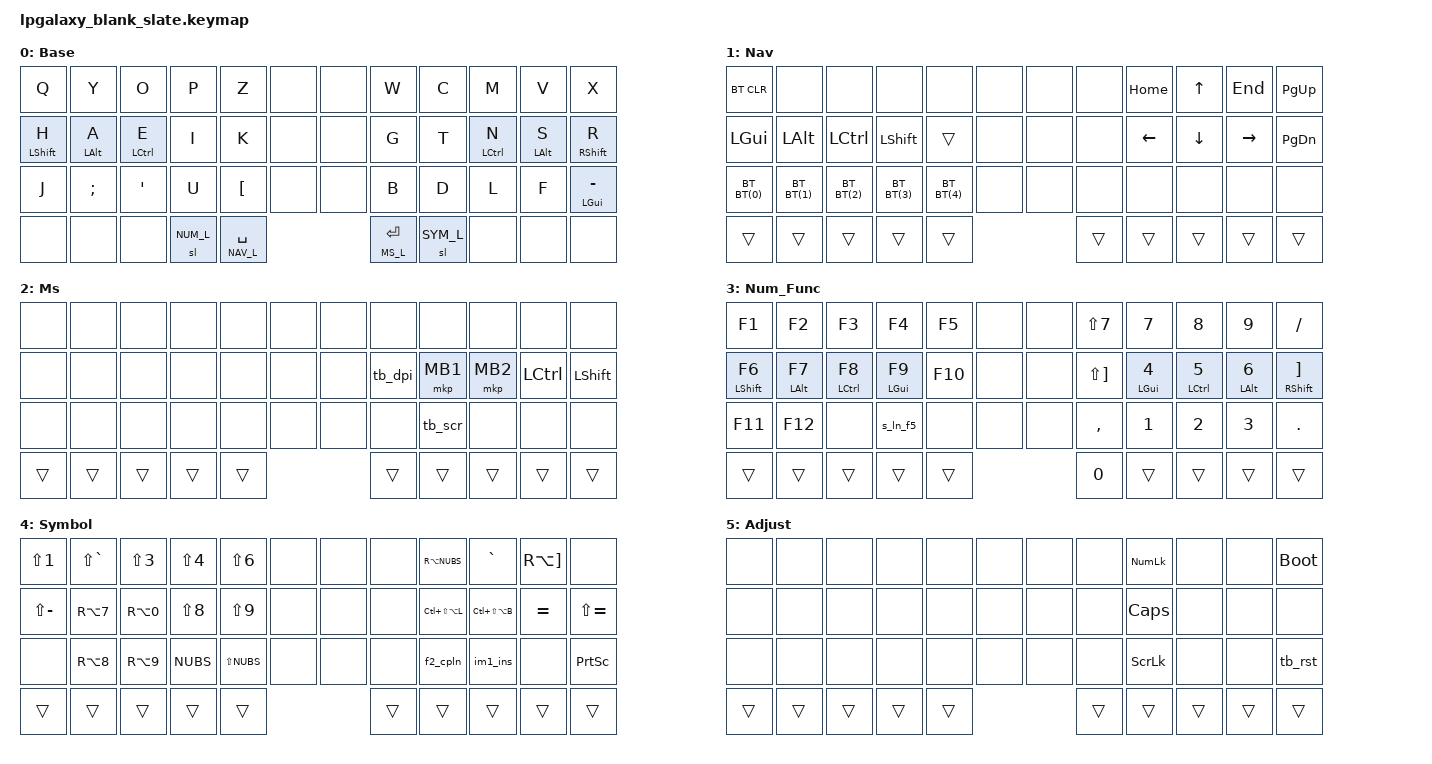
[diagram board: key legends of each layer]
 /*
 * Copyright (c) 2022 Pete Johanson
 *
 * SPDX-License-Identifier: MIT
 */

#include <behaviors.dtsi>
#include <dt-bindings/zmk/keys.h>
#include <dt-bindings/zmk/bt.h>
#include <dt-bindings/zmk/outputs.h>
#include <dt-bindings/zmk/mouse.h>
#include <behaviors/num_word.dtsi>

#define TBLE_DUAL_2U 1
#define BT(n) BT_SEL n

#define OPY_L 0
#define NAV_L 1
#define MS_L  2
#define NUM_L 3
#define SYM_L 4
#define ADJ_L 5

#define _______ &trans
#define XXXXXXX &none

#define OSL_NUM &sl NUM_L
#define NAV_SPC &lt NAV_L SPACE
#define MS_ENT  &lt MS_L ENTER
#define OSL_SYM &sl SYM_L

#define HRM_O_H &bhm LSHFT H
#define HRM_O_A &bhm LALT A
#define HRM_O_E &bhm LCTRL E
#define HRM_O_I &kp I
#define HRM_O_T &kp T
#define HRM_O_N &bhm LCTRL N
#define HRM_O_S &bhm LALT S
#define HRM_O_R &bhm RSHFT R

#define NF_F6 &bhm LSHFT F6
#define NF_F7 &bhm LALT F7
#define NF_F8 &bhm LCTRL F8
#define NF_F9 &bhm LGUI F9
#define NF_4 &bhm LGUI N4
#define NF_5 &bhm LCTRL N5
#define NF_6 &bhm LALT N6
#define NF_PLS &bhm RSHFT RBKT

// Using layer taps on thumbs, having quick tap as well helps w/ repeating space/backspace
&lt { quick_tap_ms = <200>; };

&caps_word {
  // do continue on: Backspace - ä ö ü
  continue-list = <BSPC SLASH SEMI QUOT LBKT>;
};

&num_word {
   // do continue on: Backspace delete . , * + - =
  continue-list = <BSPC DEL DOT COMMA LS(RBKT) RBKT SLASH LS(N0)>;
};

/ {
    chosen {
       zmk,matrix_transform = &dual_2u_transform;
    };

    behaviors {
        bhm: balanced_homerow_mods {
            compatible = "zmk,behavior-hold-tap";
            flavor = "balanced";
            #binding-cells = <2>;
            tapping-term-ms = <200>;
            quick-tap-ms = <175>;
            require-prior-idle-ms = <150>;
            // hold-trigger-key-positions = <KEYS_R THUMBS>;
            // hold-trigger-on-release;   
            bindings = <&kp>, <&kp>;
        };
    };

    macros {
        cp_all: copy_all {
            compatible = "zmk,behavior-macro";
            #binding-cells = <0>;
            wait-ms = <30>;
            tap-ms = <40>;
            bindings = <&kp LC(A) &kp LC(C)>;
        };
        cp_line: copy_line {
            compatible = "zmk,behavior-macro";
            #binding-cells = <0>;
            wait-ms = <30>;
            tap-ms = <40>;
            bindings = <&kp HOME &kp LS(END) &kp LC(C)>;
        };
        cp_word: copy_word {
            compatible = "zmk,behavior-macro";
            #binding-cells = <0>;
            wait-ms = <30>;
            tap-ms = <40>;
            bindings = <&kp LC(LEFT) &kp LC(LS(RIGHT)) &kp LC(C)>;
        };
    	s_ln_f5: select_line_f5 {
            compatible = "zmk,behavior-macro";
            #binding-cells = <0>;
            wait-ms = <30>;
            tap-ms = <40>;
            bindings = <&kp HOME &kp LS(END) &kp F5>;
        };
        f2_cpln: f2_copy_line {
            compatible = "zmk,behavior-macro";
            #binding-cells = <0>;
            wait-ms = <30>;
            tap-ms = <40>;
            bindings = <&kp F2 &kp HOME &kp LS(END) &kp LC(C) &kp ESC>;
        };
        im1_ins: imed_insert {
            compatible = "zmk,behavior-macro";
            #binding-cells = <0>;
            wait-ms = <30>;
            tap-ms = <40>;
            bindings 
                = <&kp LC(A) &kp LC(V)>
                , <&macro_wait_time 500>
                , <&kp LA(F4)>
                , <&macro_wait_time 500>
                , <&kp ENTER>;
        };
        dbl_clk: mouse_double_click {
            compatible = "zmk,behavior-macro";
            #binding-cells = <0>;
            wait-ms = <30>;
            tap-ms = <40>;
            bindings = <&mkp MB1 &mkp MB1>;
        };
        tb_scr: trackball_toggle_scroll {
            compatible = "zmk,behavior-macro";
            #binding-cells = <0>;
            wait-ms = <25>;
            tap-ms = <10>;
            bindings 
                = <&kp SLCK>
                , <&kp SLCK>;
        };
        tb_dpi: trackball_change_dpi {
            compatible = "zmk,behavior-macro";
            #binding-cells = <0>;
            wait-ms = <25>;
            tap-ms = <10>;
            bindings 
                = <&kp KP_NLCK>
                , <&kp KP_NLCK>;
        };
        tb_rst: trackball_reset {
            compatible = "zmk,behavior-macro";
            #binding-cells = <0>;
            wait-ms = <25>;
            tap-ms = <10>;
            bindings 
                = <&kp CLCK>
                , <&kp CLCK>;
        };
    };


    /*                KEY POSITIONS
    
      ╭─────────────────────────────────────────────────╮
      │  0   1   2   3   4 │  5  6 │  7   8   9  10  11 │
      │ 12  13  14  15  16 │ 17 18 │ 19  20  21  22  23 │
      │ 24  25  26  27  28 │ 29 30 │ 31  32  33  34  35 │
      │ 36  37  38  39 │  40   │   41  │ 42  43  44  45 │
      ╰─────────────────────────────────────────────────╯
    */

    combos {
        compatible = "zmk,combos";
        // Both sides
        combo_caps_word {
            timeout-ms = <50>;
            key-positions = <12 23>;
            layers = <OPY_L>;
            bindings = <&caps_word>;
        };
        // Left side
        combo_esc {
            timeout-ms = <50>;
            key-positions = <0 1>;
            layers = <OPY_L>;
            bindings = <&kp ESC>;
        };
        combo_dot {
            timeout-ms = <50>;
            key-positions = <14 15>;
             layers = <OPY_L>;
            bindings = <&kp DOT>;
        };
        combo_comma {
            timeout-ms = <50>;
            key-positions = <13 14>;
             layers = <OPY_L>;
            bindings = <&kp COMMA>;
        };
        combo_dash {
            timeout-ms = <50>;
            key-positions = <12 13>;
             layers = <OPY_L>;
            bindings = <&kp SLASH>;
        };
        combo_squot {
            timeout-ms = <50>;
            key-positions = <2 3>;
             layers = <OPY_L>;
            bindings = <&kp RS(NUHS)>;
        };
        combo_dquot {
            timeout-ms = <50>;
            key-positions = <26 27>;
             layers = <OPY_L>;
            bindings = <&kp LS(N2)>;
        };
        combo_star {
            timeout-ms = <50>;
            key-positions = <14 27>;
             layers = <OPY_L>;
            bindings = <&kp RS(RBKT)>;
        };
        combo_hash {
            timeout-ms = <50>;
            key-positions = <25 26>;
             layers = <OPY_L>;
            bindings = <&kp NUHS>;
        };
        combo_equal {
            timeout-ms = <50>;
            key-positions = <1 2>;
             layers = <OPY_L NUM_L>;
            bindings = <&kp LS(N0)>;
        };
        combo_percent {
            timeout-ms = <50>;
            key-positions = <15 26>;
             layers = <OPY_L>;
            bindings = <&kp LS(N5)>;
        };
        combo_slash {
            timeout-ms = <50>;
            key-positions = <14 25>;
             layers = <OPY_L>;
            bindings = <&kp LS(N7)>;
        };
        combo_backslash {
            timeout-ms = <50>;
            key-positions = <13 26>;
             layers = <OPY_L>;
            bindings = <&kp RA(MINUS)>;
        };
        // Right side
        combo_bspc {
            timeout-ms = <50>;
            key-positions = <20 21>;
             layers = <OPY_L NUM_L>;
            bindings = <&kp BSPC>;
        };
        combo_bspc_word {
            timeout-ms = <50>;
            key-positions = <20 21 22>;
            layers = <OPY_L NUM_L>;
            bindings = <&kp LC(BSPC)>;
        };
        combo_del {
            timeout-ms = <50>;
            key-positions = <22 23>;
            layers = <OPY_L NUM_L>;
            bindings = <&kp DEL>;
        };
        combo_del_word {
            timeout-ms = <50>;
            key-positions = <21 22 23>;
            layers = <OPY_L NUM_L>;
            bindings = <&kp LC(DEL)>;
        };
        combo_copy {
            timeout-ms = <50>;
            key-positions = <8 9>;
             layers = <OPY_L>;
            bindings = <&kp LC(C)>;
        }; 
        combo_paste {
            timeout-ms = <50>;
            key-positions = <9 10>;
             layers = <OPY_L>;
            bindings = <&kp LC(V)>;
        };
        combo_cut {
            timeout-ms = <50>;
            key-positions = <10 11>;
             layers = <OPY_L>;
            bindings = <&kp LC(X)>;
        };
        combo_copy_all {
            timeout-ms = <50>;
            key-positions = <32 33>;
            layers = <OPY_L>;
            bindings = <&cp_all>;
        };
        combo_copy_line {
            timeout-ms = <50>;
            key-positions = <33 34>;
            layers = <OPY_L>;
            bindings = <&cp_line>;
        };
        combo_copy_word {
            timeout-ms = <50>;
            key-positions = <34 35>;
            layers = <OPY_L>;
            bindings = <&cp_word>;
        };
        combo_alt_f4 {
            timeout-ms = <50>;
            key-positions = <19 31>;
            layers = <OPY_L>;
            bindings = <&kp LA(F4)>;
        };
        combo_tab {
            timeout-ms = <50>;
            key-positions = <21 32>;
            layers = <OPY_L>;
            bindings = <&kp TAB>;
        };
        combo_vdpr {
            timeout-ms = <50>;
            key-positions = <9 20>;
            layers = <OPY_L>;
            bindings = <&kp LG(LC(LEFT))>;
        };
        combo_vdnx {
            timeout-ms = <50>;
            key-positions = <8 21>;
            layers = <OPY_L>;
            bindings = <&kp LG(LC(RIGHT))>;
        };
        combo_mouse_dbl_click {
            timeout-ms = <50>;
            key-positions = <20 21>;
            layers = <MS_L>;
            bindings = <&dbl_clk>;
        };
        combo_num_word {
            timeout-ms = <50>;
            key-positions = <9 22>;
            layers = <OPY_L NUM_L>;
            bindings = <&num_word NUM_L>;
        };
        // combos task previous, task next hinzufügen
    };

    // Conditional layer only when we have less thumb keys
    cond_layers {
        compatible = "zmk,conditional-layers";
    	tri {
    	    if-layers = <NUM_L SYM_L>;
    	    then-layer = <ADJ_L>;
        };
    };

    keymap {
        compatible = "zmk,keymap";

        base_layer {
            label = "Base";
            bindings = <
 &kp Q      &kp Y      &kp O      &kp P      &kp Z      XXXXXXX    XXXXXXX    &kp W      &kp C      &kp M      &kp V      &kp X
 HRM_O_H    HRM_O_A    HRM_O_E    HRM_O_I    &kp K      XXXXXXX    XXXXXXX    &kp G      HRM_O_T    HRM_O_N    HRM_O_S    HRM_O_R
 &kp J      &kp SEMI   &kp QUOT   &kp U      &kp LBKT   XXXXXXX    XXXXXXX    &kp B      &kp D      &kp L      &kp F      &bhm LGUI MINUS 
 XXXXXXX    XXXXXXX    XXXXXXX    OSL_NUM    NAV_SPC                          MS_ENT     OSL_SYM    XXXXXXX    XXXXXXX    XXXXXXX
            >;
        };

        nav_layer {
            label = "Nav";
            bindings = <
&bt BT_CLR XXXXXXX    XXXXXXX    XXXXXXX    XXXXXXX    XXXXXXX    XXXXXXX    XXXXXXX    &kp HOME   &kp UP     &kp END    &kp PG_UP
&kp LGUI   &kp LALT   &kp LCTRL  &kp LSHFT  _______    XXXXXXX    XXXXXXX    XXXXXXX    &kp LEFT   &kp DOWN   &kp RIGHT  &kp PG_DN
&bt BT(0)  &bt BT(1)  &bt BT(2)  &bt BT(3)  &bt BT(4)  XXXXXXX    XXXXXXX    XXXXXXX    XXXXXXX    XXXXXXX    XXXXXXX    XXXXXXX
_______    _______    _______    _______    _______                          _______    _______    _______    _______    _______
            >;
        };

        mouse_layer {
            label = "Ms";
            bindings = <
XXXXXXX    XXXXXXX    XXXXXXX    XXXXXXX    XXXXXXX    XXXXXXX    XXXXXXX    XXXXXXX    XXXXXXX    XXXXXXX    XXXXXXX    XXXXXXX
XXXXXXX    XXXXXXX    XXXXXXX    XXXXXXX    XXXXXXX    XXXXXXX    XXXXXXX    &tb_dpi    &mkp MB1   &mkp MB2   &kp LCTRL  &kp LSHFT
XXXXXXX    XXXXXXX    XXXXXXX    XXXXXXX    XXXXXXX    XXXXXXX    XXXXXXX    XXXXXXX    &tb_scr    XXXXXXX    XXXXXXX    XXXXXXX
_______    _______    _______    _______    _______                          _______    _______    _______    _______    _______
            >;
        };

        num_func_layer {
            label = "Num_Func";
            bindings = <
&kp F1    &kp F2    &kp F3    &kp F4    &kp F5    XXXXXXX   XXXXXXX   &kp LS(N7)   &kp N7    &kp N8    &kp N9    &kp SLASH
NF_F6     NF_F7     NF_F8     NF_F9     &kp F10   XXXXXXX   XXXXXXX   &kp LS(RBKT) NF_4      NF_5      NF_6      NF_PLS
&kp F11   &kp F12   XXXXXXX   &s_ln_f5  XXXXXXX   XXXXXXX   XXXXXXX   &kp COMMA    &kp N1    &kp N2    &kp N3    &kp DOT
_______   _______   _______   _______   _______                       &kp N0       _______   _______   _______   _______
            >;
        };

        symbol_layer {
            label = "Symbol";
            bindings = <
&kp LS(N1)    &kp LS(GRAVE) &kp LS(N3) &kp LS(N4) &kp LS(N6)   XXXXXXX     XXXXXXX     XXXXXXX     &kp RA(NUBS)      &kp GRAVE         &kp RA(RBKT) XXXXXXX
&kp LS(MINUS) &kp RA(N7)    &kp RA(N0) &kp LS(N8) &kp LS(N9)   XXXXXXX     XXXXXXX     XXXXXXX     &kp LC(LS(LA(L))) &kp LC(LS(LA(B))) &kp EQUAL    &kp LS(EQUAL)
XXXXXXX       &kp RA(N8)    &kp RA(N9) &kp NUBS   &kp LS(NUBS) XXXXXXX     XXXXXXX     XXXXXXX     &f2_cpln          &im1_ins          XXXXXXX      &kp PSCRN
_______       _______       _______    _______    _______                              _______     _______           _______           _______      _______
            >;
        };

        adjust_layer {
            label = "Adjust";
            bindings = <
XXXXXXX     XXXXXXX     XXXXXXX     XXXXXXX     XXXXXXX     XXXXXXX     XXXXXXX     XXXXXXX     &kp KP_NLCK XXXXXXX     XXXXXXX     &bootloader
XXXXXXX     XXXXXXX     XXXXXXX     XXXXXXX     XXXXXXX     XXXXXXX     XXXXXXX     XXXXXXX     &kp CLCK    XXXXXXX     XXXXXXX     XXXXXXX
XXXXXXX     XXXXXXX     XXXXXXX     XXXXXXX     XXXXXXX     XXXXXXX     XXXXXXX     XXXXXXX     &kp SLCK    XXXXXXX     XXXXXXX     &tb_rst
_______     _______     _______     _______     _______                             _______     _______     _______     _______     _______
            >;
        };
    };
};

